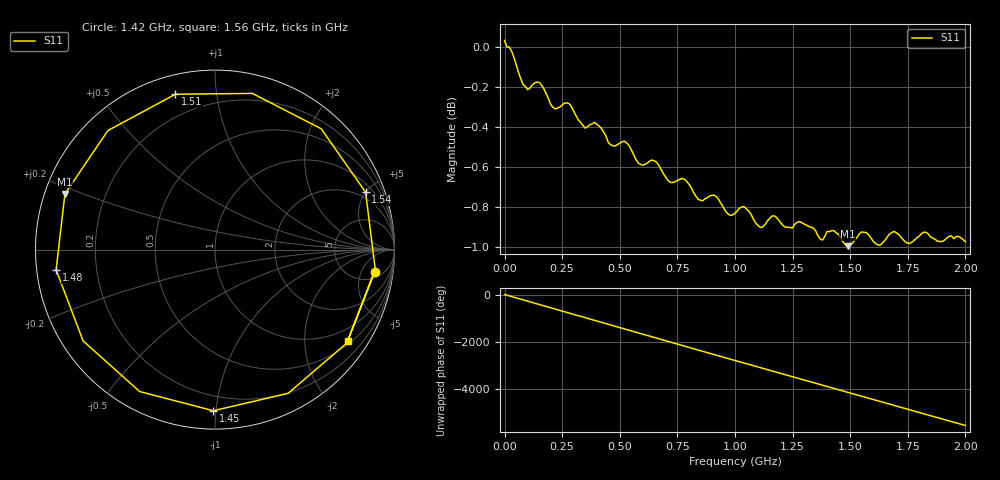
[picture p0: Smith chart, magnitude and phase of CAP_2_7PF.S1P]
!Agilent Technologies,E5071C,MY46520295,B.13.20
!Date: Fri Feb 09 06:58:19 2024
!Data & Calibration Information:
!Freq	S11:NONE(--)
!PortZ  Port1:50+j0
!Above PortZ is port z conversion or system Z0 setting when saving the data.
!When reading, reference impedance value at option line is always used.
# Hz S RI R 50
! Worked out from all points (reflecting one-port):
!   201 points, 300 kHz to 2 GHz, reference 50 ohm
!   lowest |S11| = -1.0 dB at 1.49 GHz (marker M1), VSWR 17.47, Z = 2.95 + j8.93 ohm
!   phase of S11 starts at -1 deg and turns -5563 deg over the sweep
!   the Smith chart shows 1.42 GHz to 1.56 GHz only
!   S11 on the Smith chart (normalised r, x): 1.42 GHz: 7, -9; 1.45 GHz: 0.11, -0.98; 1.48 GHz: 0.06, -0.06; 1.51 GHz: 0.09, +0.77; 1.54 GHz: 1.51, +4.99; 1.56 GHz: 0.59, -3.11
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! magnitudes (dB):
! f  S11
! 300 kHz  0.0
! 100.3 MHz  -0.2
! 150.3 MHz  -0.2
! 210.3 MHz  -0.3
! 250.3 MHz  -0.3
! 500.2 MHz  -0.5
! 590.2 MHz  -0.6
! 750.2 MHz  -0.7
! 1 GHz  -0.8
! 1.04 GHz  -0.8
! 1.11 GHz  -0.9
! 1.17 GHz  -0.8
! 1.25 GHz  -0.9
! 1.28 GHz  -0.9
! 1.38 GHz  -1.0
! 1.42 GHz  -0.9
! 1.45 GHz  -0.9
! 1.48 GHz  -1.0
! 1.49 GHz  -1.0
! 1.5 GHz  -1.0
! 1.51 GHz  -1.0
! 1.54 GHz  -0.9
! 1.56 GHz  -0.9
! 1.62 GHz  -1.0
! 1.69 GHz  -0.9
! 1.75 GHz  -1.0
! 1.82 GHz  -0.9
! 2 GHz  -1.0
